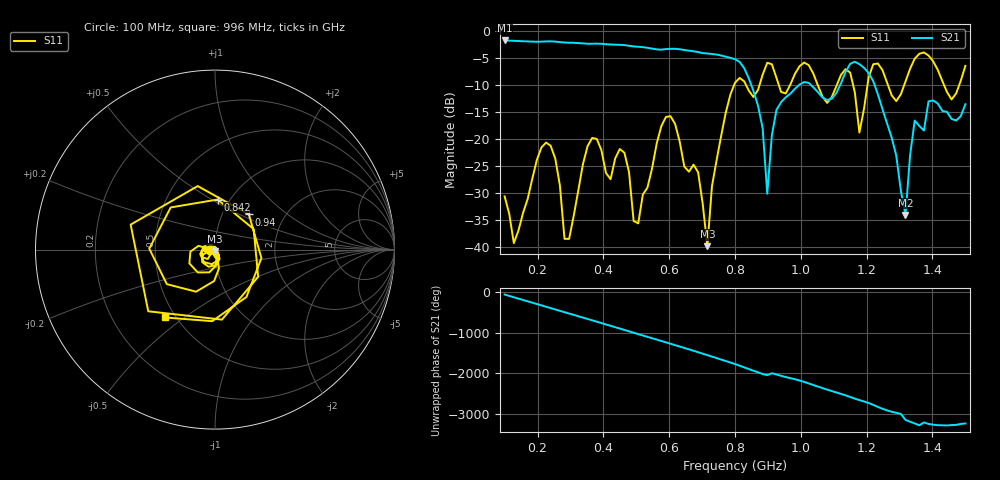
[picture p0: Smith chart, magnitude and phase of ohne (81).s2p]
! NanoVNA-App
! Date: 2025-09-26 09:56:01
! Start: 100MHz Stop: 1,5GHz Points: 101
! S-Parameter data: F S11 S21 S12 S22
# Hz S RI R 50
!  Frequency  S11_Real  S11_Imag  S21_Real  S21_Imag  S12_Real  S12_Imag  S22_Real  S22_Imag
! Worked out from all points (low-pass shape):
!   101 points, 100 MHz to 1.5 GHz, reference 50 ohm
!   highest |S21| = -1.79 dB at 100 MHz (marker M1); lowest = -34.1 dB at 1.318 GHz (marker M2)
!   |S21| within 3 dB of the highest: start of sweep to 771.7 MHz
!   lowest |S11| = -39.9 dB at 716 MHz (marker M3), VSWR 1.02, Z = 49.8 - j0.997 ohm
!   |S11| at or under -10 dB: start of sweep to 797.6 MHz; 833.3 MHz to 874.6 MHz (41.36 MHz wide, 4.84 % of centre); 1.051 GHz to 1.11 GHz (58.39 MHz wide, 5.4 % of centre) (the widest 3 of 7)
!   S12 and S22 are empty: the file has one direction only
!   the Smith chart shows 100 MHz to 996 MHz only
!   S11 on the Smith chart (normalised r, x): 100 MHz: 0.94, -0.01; 842 MHz: 0.88, +0.53; 940 MHz: 1.33, +0.56; 996 MHz: 0.44, -0.43
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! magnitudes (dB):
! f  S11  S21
! 100 MHz  -30.6  -1.8
! 128 MHz  -39.3  -1.9
! 226 MHz  -20.7  -2.0
! 296 MHz  -38.5  -2.2
! 338 MHz  -24.7  -2.3
! 464 MHz  -22.6  -2.7
! 506 MHz  -35.6  -3.0
! 576 MHz  -17.7  -3.5
! 688 MHz  -26.2  -3.9
! 716 MHz  -39.9  -4.2
! 800 MHz  -9.6  -5.2
! 842 MHz  -11.1  -8.8
! 898 MHz  -5.9  -30.2
! 940 MHz  -11.3  -13.2
! 996 MHz  -6.6  -10.0
! 1.038 GHz  -7.9  -10.5
! 1.178 GHz  -18.8  -6.2
! 1.22 GHz  -6.2  -9.3
! 1.276 GHz  -11.9  -19.7
! 1.318 GHz  -9.4  -34.1
! 1.346 GHz  -5.2  -16.6
! 1.5 GHz  -6.5  -13.6
